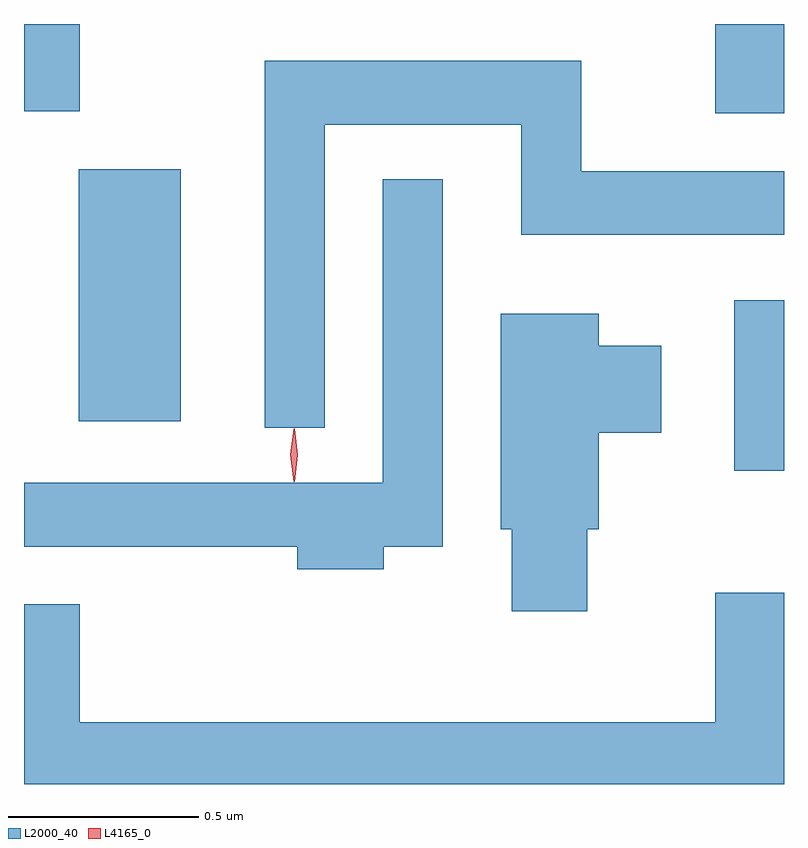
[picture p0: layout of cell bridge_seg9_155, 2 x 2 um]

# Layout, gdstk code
import gdstk
lib = gdstk.Library(unit=1e-6, precision=1e-09)
def R(c, l, rs):  # rectangles x0, y0, x1, y1
    for r in rs: c.add(gdstk.rectangle(r[:2], r[2:], *l))
def P(c, l, *ps):  # polygons
    for p in ps: c.add(gdstk.Polygon(p, *l))
L2000_40 = (2000, 40)
L4165_0 = (4165, 0)

bridge_seg9_155 = lib.new_cell('bridge_seg9_155')
R(bridge_seg9_155, L2000_40, [(1439.101,2077.106,1439.232,2077.554), (1437.376,2077.236,1437.644,2077.899), (1439.051,2078.046,1439.232,2078.281), (1437.232,2078.051,1437.379,2078.281)])
P(bridge_seg9_155, L2000_40, [(1438.024,2078.016),(1438.541,2078.016),(1438.541,2077.726),(1439.232,2077.726),(1439.232,2077.894),(1438.699,2077.894),(1438.699,2078.184),(1437.866,2078.184),(1437.866,2077.218),(1438.024,2077.218)],
  [(1438.179,2076.906),(1438.334,2076.906),(1438.334,2077.873),(1438.176,2077.873),(1438.176,2077.074),(1437.232,2077.074),(1437.232,2076.906),(1437.951,2076.906),(1437.951,2076.846),(1438.179,2076.846)],
  [(1438.714,2076.951),(1438.744,2076.951),(1438.744,2077.206),(1438.909,2077.206),(1438.909,2077.434),(1438.744,2077.434),(1438.744,2077.519),(1438.486,2077.519),(1438.486,2076.951),(1438.516,2076.951),(1438.516,2076.736),(1438.714,2076.736)],
  [(1439.232,2076.784),(1439.051,2076.784),(1439.051,2076.444),(1437.379,2076.444),(1437.379,2076.754),(1437.232,2076.754),(1437.232,2076.281),(1439.232,2076.281)])
P(bridge_seg9_155, L4165_0, [(1437.942,2077.077),(1437.933,2077.147),(1437.942,2077.216),(1437.943,2077.216),(1437.944,2077.216),(1437.953,2077.147),(1437.944,2077.077),(1437.943,2077.077)])

lib.write_gds('bridge_seg9_155.gds')
